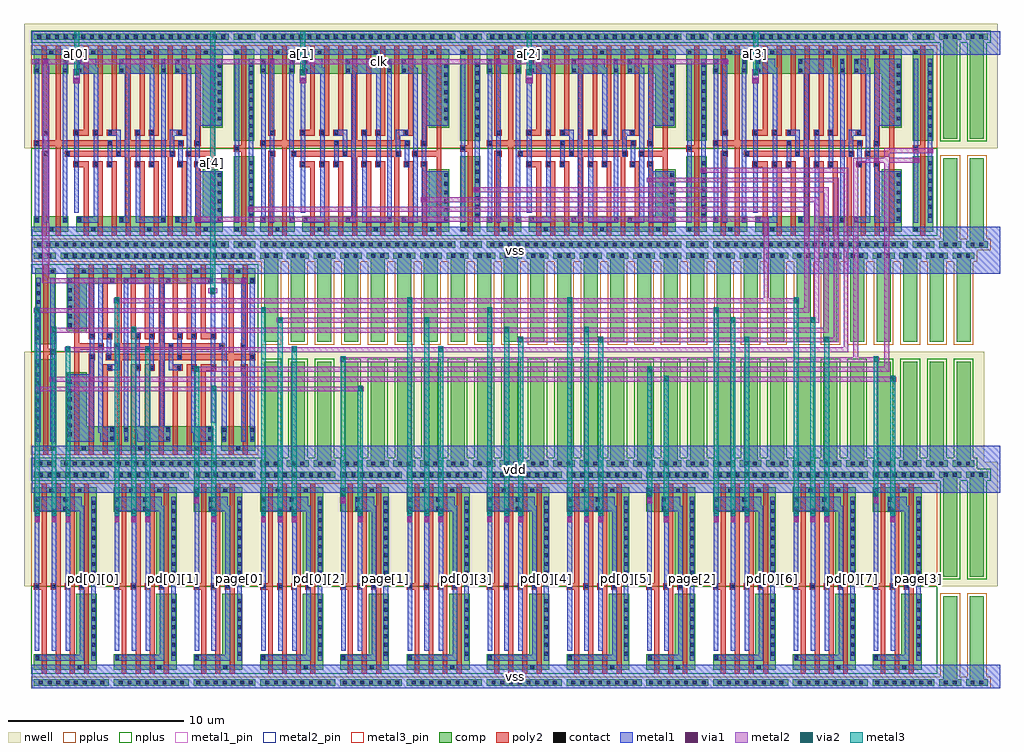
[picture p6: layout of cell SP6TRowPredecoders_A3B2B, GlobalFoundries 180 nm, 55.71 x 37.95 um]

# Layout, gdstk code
from math import pi, radians
import gdstk
lib = gdstk.Library(unit=1e-6, precision=1e-09)
def R(c, l, rs):  # rectangles x0, y0, x1, y1
    for r in rs: c.add(gdstk.rectangle(r[:2], r[2:], *l))
def A(c, l, x, y, w, h, nx, ny, dx, dy):  # array of equal rectangles
    R(c, l, [(x+i*dx, y+j*dy, x+i*dx+w, y+j*dy+h) for i in range(nx) for j in range(ny)])
def P(c, l, *ps):  # polygons
    for p in ps: c.add(gdstk.Polygon(p, *l))
nwell = (21, 0)
comp = (22, 0)
poly2 = (30, 0)
pplus = (31, 0)
nplus = (32, 0)
contact = (33, 0)
metal1 = (34, 0)
metal1_pin = (34, 10)
via1 = (35, 0)
metal2 = (36, 0)
metal2_pin = (36, 10)
via2 = (38, 0)
metal3 = (42, 0)
metal3_pin = (42, 10)

dec_dff_x1 = lib.new_cell('Dec_dff_x1')
R(dec_dff_x1, nwell, [(-0.43,5.8,11.83,12.93)])
R(dec_dff_x1, comp, [(0.14,0.14,11.26,0.5), (0.14,1.045,2.1,1.925), (0.14,10.055,2.1,11.455), (0.14,12,11.26,12.36)])
P(dec_dff_x1, comp, [(9.76,6.98),(9.76,10.055),(2.54,10.055),(2.54,11.455),(10.92,11.455),(10.92,6.98)],
  [(2.54,1.045),(2.54,1.925),(9.76,1.925),(9.76,4.62),(10.92,4.62),(10.92,1.045)])
P(dec_dff_x1, poly2, [(8.58,0.825),(8.58,4.72),(8.32,4.72),(8.32,5.08),(8.86,5.08),(8.86,0.825)],
  [(4.58,0.825),(4.58,4.72),(4.3,4.72),(4.3,5.08),(4.86,5.08),(4.86,0.825)],
  [(1.38,0.825),(1.38,5.92),(0.14,5.92),(0.14,6.28),(1.38,6.28),(1.38,11.675),(1.66,11.675),(1.66,6.28),(5.38,6.28),(5.38,11.675),(5.66,11.675),(5.66,6.28),(7.78,6.28),(7.78,11.675),(8.06,11.675),(8.06,6.28),(8.68,6.28),(8.68,5.92),(1.66,5.92),(1.66,0.825)],
  [(0.58,6.52),(0.58,11.675),(0.86,11.675),(0.86,6.88),(0.99,6.88),(0.99,6.52)],
  [(0.58,0.825),(0.58,5.68),(0.99,5.68),(0.99,5.32),(0.86,5.32),(0.86,0.825)],
  [(5.38,0.825),(5.38,5.32),(1.9,5.32),(1.9,5.68),(8.19,5.68),(8.19,5.32),(8.06,5.32),(8.06,0.825),(7.78,0.825),(7.78,5.32),(5.66,5.32),(5.66,0.825)],
  [(8.3,6.52),(8.3,6.88),(8.58,6.88),(8.58,11.675),(8.86,11.675),(8.86,6.52)],
  [(4.3,6.52),(4.3,6.88),(4.58,6.88),(4.58,11.675),(4.86,11.675),(4.86,6.52)],
  [(3.5,6.52),(3.5,6.88),(3.78,6.88),(3.78,11.675),(4.06,11.675),(4.06,6.52)],
  [(3.78,0.825),(3.78,4.72),(3.5,4.72),(3.5,5.08),(4.06,5.08),(4.06,0.825)],
  [(2.39,6.52),(2.39,6.88),(2.98,6.88),(2.98,11.675),(3.26,11.675),(3.26,6.52)],
  [(2.98,0.825),(2.98,4.72),(2.39,4.72),(2.39,5.08),(3.26,5.08),(3.26,0.825)],
  [(6.7,6.52),(6.7,6.88),(6.98,6.88),(6.98,11.675),(7.26,11.675),(7.26,6.52)],
  [(6.98,0.825),(6.98,4.72),(6.7,4.72),(6.7,5.08),(7.26,5.08),(7.26,0.825)],
  [(5.9,6.52),(5.9,6.88),(6.18,6.88),(6.18,11.675),(6.46,11.675),(6.46,6.52)],
  [(6.18,0.825),(6.18,4.72),(5.9,4.72),(5.9,5.08),(6.46,5.08),(6.46,0.825)],
  [(10.2,0.825),(10.2,5.32),(8.81,5.32),(8.81,5.68),(10.2,5.68),(10.2,11.675),(10.48,11.675),(10.48,0.825)],
  [(9.3,5.92),(9.3,6.28),(9.38,6.28),(9.38,11.675),(9.66,11.675),(9.66,5.92)],
  [(9.38,0.825),(9.38,4.72),(9.3,4.72),(9.3,5.08),(9.66,5.08),(9.66,0.825)])
R(dec_dff_x1, pplus, [(-0.02,-0.02,11.42,0.66), (-0.02,5.8,11.42,11.685)])
R(dec_dff_x1, nplus, [(-0.02,0.815,11.42,5.8), (-0.02,11.84,11.42,12.52)])
A(dec_dff_x1, contact, 0.34, 0.21, 0.22, 0.22, 22, 2, 0.5, 11.86)
A(dec_dff_x1, contact, 2.61, 1.63, 0.22, 0.22, 3, 2, 2.4, 8.51)
A(dec_dff_x1, contact, 10.63, 1.675, 0.22, 0.22, 1, 6, 0, 0.5)
A(dec_dff_x1, contact, 10.63, 7.405, 0.22, 0.22, 1, 7, 0, 0.5)
A(dec_dff_x1, contact, 2.61, 10.64, 0.22, 0.22, 3, 1, 2.4, 0)
R(dec_dff_x1, contact, [(1.01,1.115,1.23,1.335), (3.41,1.115,3.63,1.335), (6.61,1.115,6.83,1.335), (9.83,1.115,10.05,1.335), (0.21,1.63,0.43,1.85), (1.81,1.63,2.03,1.85), (8.21,1.63,8.43,1.85), (2.46,4.79,2.68,5.01), (3.57,4.79,3.79,5.01), (4.37,4.79,4.59,5.01), (5.97,4.79,6.19,5.01), (6.77,4.79,6.99,5.01), (8.39,4.79,8.61,5.01), (9.37,4.79,9.59,5.01), (0.7,5.39,0.92,5.61), (1.97,5.39,2.19,5.61), (4.86,5.39,5.08,5.61), (7.9,5.39,8.12,5.61), (8.88,5.39,9.1,5.61), (0.21,5.99,0.43,6.21), (4.37,5.99,4.59,6.21), (8.39,5.99,8.61,6.21), (9.37,5.99,9.59,6.21), (0.7,6.59,0.92,6.81), (2.46,6.59,2.68,6.81), (3.57,6.59,3.79,6.81), (4.37,6.59,4.59,6.81), (5.97,6.59,6.19,6.81), (6.77,6.59,6.99,6.81), (8.37,6.59,8.59,6.81), (0.21,10.14,0.43,10.36), (1.81,10.14,2.03,10.36), (8.21,10.14,8.43,10.36), (0.21,10.64,0.43,10.86), (1.81,10.64,2.03,10.86), (8.21,10.64,8.43,10.86), (1.01,11.165,1.23,11.385), (3.41,11.165,3.63,11.385), (6.61,11.165,6.83,11.385), (9.83,11.165,10.05,11.385)])
R(dec_dff_x1, metal1, [(0,0,11.4,1.34), (0.68,1.57,0.94,10.93), (2.44,2.14,2.7,9.85), (4.35,4.73,4.61,6.27), (8.37,4.73,8.63,6.27), (0,11.16,11.4,12.5)])
P(dec_dff_x1, metal1, [(0.19,1.57),(0.19,10.42),(0.205,10.42),(0.205,10.93),(0.435,10.93),(0.435,10.42),(0.45,10.42),(0.45,1.57)],
  [(7.88,5.33),(7.88,6.87),(8.595,6.87),(8.595,6.53),(8.14,6.53),(8.14,5.33)],
  [(4.84,5.33),(4.84,6.53),(4.365,6.53),(4.365,6.87),(5.1,6.87),(5.1,5.33)],
  [(1.79,1.57),(1.79,10.42),(1.805,10.42),(1.805,10.93),(2.035,10.93),(2.035,10.42),(2.05,10.42),(2.05,5.67),(2.195,5.67),(2.195,5.33),(2.05,5.33),(2.05,1.57)],
  [(2.605,1.57),(2.605,1.91),(3.55,1.91),(3.55,10.08),(2.605,10.08),(2.605,10.93),(3.68,10.93),(3.68,10.42),(3.81,10.42),(3.81,1.57)],
  [(5.005,1.57),(5.005,1.91),(5.33,1.91),(5.33,10.08),(5.005,10.08),(5.005,10.93),(6.88,10.93),(6.88,10.42),(7.01,10.42),(7.01,4.73),(6.75,4.73),(6.75,10.08),(5.59,10.08),(5.59,1.57)],
  [(5.95,1.57),(5.95,6.87),(6.21,6.87),(6.21,1.91),(7.39,1.91),(7.39,10.42),(7.405,10.42),(7.405,10.93),(7.635,10.93),(7.635,10.42),(7.65,10.42),(7.65,1.57)],
  [(8.205,1.57),(8.205,1.91),(8.86,1.91),(8.86,10.08),(8.205,10.08),(8.205,10.93),(8.99,10.93),(8.99,10.42),(9.12,10.42),(9.12,1.57)],
  [(9.35,1.57),(9.35,10.93),(10.855,10.93),(10.855,7.1),(9.61,7.1),(9.61,4.5),(10.855,4.5),(10.855,1.57)])
R(dec_dff_x1, metal1_pin, [(0,0,11.4,1.34), (0.68,1.57,0.94,10.93), (9.35,1.57,9.61,10.93), (2.44,2.14,2.7,9.85), (0,11.16,11.4,12.5)])
dec_dff_x1.add(gdstk.Label('vdd', (5.7,11.83), layer=34, texttype=10))
dec_dff_x1.add(gdstk.Label('vss', (5.7,0.67), layer=34, texttype=10))
dec_dff_x1.add(gdstk.Label('clk', (0.81,6.25), layer=34, texttype=10))
dec_dff_x1.add(gdstk.Label('i', (2.57,5.995), layer=34, texttype=10))
dec_dff_x1.add(gdstk.Label('q', (9.48,6.25), layer=34, texttype=10))

dec_inv_x1 = lib.new_cell('Dec_inv_x1')
R(dec_inv_x1, nwell, [(-0.43,5.8,1.95,12.93)])
R(dec_inv_x1, comp, [(0.14,0.14,1.38,0.5), (0.14,1.045,1.3,5.37), (0.14,6.23,1.3,11.455), (0.14,12,1.38,12.36)])
P(dec_inv_x1, poly2, [(0.58,0.825),(0.58,5.62),(0.14,5.62),(0.14,5.98),(0.58,5.98),(0.58,11.675),(0.86,11.675),(0.86,0.825)])
R(dec_inv_x1, pplus, [(-0.02,-0.02,1.54,0.66), (-0.02,5.8,1.54,11.685)])
R(dec_inv_x1, nplus, [(-0.02,0.815,1.54,5.8), (-0.02,11.84,1.54,12.52)])
A(dec_inv_x1, contact, 1.01, 1.855, 0.22, 0.22, 1, 7, 0, 0.5)
A(dec_inv_x1, contact, 1.01, 6.475, 0.22, 0.22, 1, 9, 0, 0.5)
R(dec_inv_x1, contact, [(0.4,0.21,0.62,0.43), (0.9,0.21,1.12,0.43), (0.21,1.115,0.43,1.335), (0.21,5.69,0.43,5.91), (0.21,11.165,0.43,11.385), (0.4,12.07,0.62,12.29), (0.9,12.07,1.12,12.29)])
R(dec_inv_x1, metal1, [(0,0,1.52,1.34), (0.19,1.57,0.45,10.93), (0.99,1.57,1.25,10.93), (0,11.16,1.52,12.5)])
R(dec_inv_x1, metal1_pin, [(0,0,1.52,1.34), (0.19,1.57,0.45,10.93), (0.99,1.57,1.25,10.93), (0,11.16,1.52,12.5)])
dec_inv_x1.add(gdstk.Label('vss', (0.76,0.67), layer=34, texttype=10))
dec_inv_x1.add(gdstk.Label('vdd', (0.76,11.83), layer=34, texttype=10))
dec_inv_x1.add(gdstk.Label('nq', (1.12,6.25), layer=34, texttype=10))
dec_inv_x1.add(gdstk.Label('i', (0.32,6.25), layer=34, texttype=10))

dec_tie_diff_w2 = lib.new_cell('Dec_tie_diff_w2')
R(dec_tie_diff_w2, nwell, [(-0.43,5.8,1.95,12.93)])
P(dec_tie_diff_w2, comp, [(0.36,6.36),(0.36,12),(0.14,12),(0.14,12.36),(1.38,12.36),(1.38,12),(1.16,12),(1.16,6.36)],
  [(0.14,0.14),(0.14,0.5),(0.36,0.5),(0.36,5.24),(1.16,5.24),(1.16,0.5),(1.38,0.5),(1.38,0.14)])
P(dec_tie_diff_w2, pplus, [(-0.02,-0.02),(-0.02,0.66),(0.2,0.66),(0.2,5.4),(1.32,5.4),(1.32,0.66),(1.54,0.66),(1.54,-0.02)])
P(dec_tie_diff_w2, nplus, [(0.2,6.2),(0.2,11.84),(-0.02,11.84),(-0.02,12.52),(1.54,12.52),(1.54,11.84),(1.32,11.84),(1.32,6.2)])
R(dec_tie_diff_w2, contact, [(0.4,0.21,0.62,0.43), (0.9,0.21,1.12,0.43), (0.4,12.07,0.62,12.29), (0.9,12.07,1.12,12.29)])
R(dec_tie_diff_w2, metal1, [(0,0,1.52,1.34), (0,11.16,1.52,12.5)])
R(dec_tie_diff_w2, metal1_pin, [(0,0,1.52,1.34), (0,11.16,1.52,12.5)])
dec_tie_diff_w2.add(gdstk.Label('vdd', (0.76,11.83), layer=34, texttype=10))
dec_tie_diff_w2.add(gdstk.Label('vss', (0.76,0.67), layer=34, texttype=10))

dec_and3_x1 = lib.new_cell('Dec_and3_x1')
R(dec_and3_x1, nwell, [(-0.43,5.8,4.99,12.93)])
R(dec_and3_x1, comp, [(0.14,0.14,4.42,0.5), (0.14,12,4.42,12.36)])
P(dec_and3_x1, comp, [(2.56,6.23),(2.56,10.055),(0.14,10.055),(0.14,11.455),(3.72,11.455),(3.72,6.23)],
  [(0.14,1.045),(0.14,1.925),(2.56,1.925),(2.56,5.37),(3.72,5.37),(3.72,1.045)])
P(dec_and3_x1, poly2, [(3,0.825),(3,5.62),(2.7,5.62),(2.7,5.98),(3,5.98),(3,11.675),(3.28,11.675),(3.28,0.825)],
  [(0.58,0.825),(0.58,5.62),(0.14,5.62),(0.14,5.98),(0.58,5.98),(0.58,11.675),(0.86,11.675),(0.86,0.825)],
  [(1.38,0.825),(1.38,5.62),(1.1,5.62),(1.1,5.98),(1.38,5.98),(1.38,11.675),(1.66,11.675),(1.66,0.825)],
  [(2.18,0.825),(2.18,5.62),(1.9,5.62),(1.9,5.98),(2.18,5.98),(2.18,11.675),(2.46,11.675),(2.46,0.825)])
R(dec_and3_x1, pplus, [(-0.02,-0.02,4.58,0.66), (-0.02,5.8,4.58,11.685)])
R(dec_and3_x1, nplus, [(-0.02,0.815,4.58,5.8), (-0.02,11.84,4.58,12.52)])
A(dec_and3_x1, contact, 0.42, 0.21, 0.22, 0.22, 8, 2, 0.5, 11.86)
A(dec_and3_x1, contact, 3.43, 1.855, 0.22, 0.22, 1, 7, 0, 0.5)
A(dec_and3_x1, contact, 1.17, 5.69, 0.22, 0.22, 3, 1, 0.8, 0)
A(dec_and3_x1, contact, 3.43, 6.475, 0.22, 0.22, 1, 9, 0, 0.5)
R(dec_and3_x1, contact, [(2.63,1.115,2.85,1.335), (0.21,1.63,0.43,1.85), (0.21,5.69,0.43,5.91), (0.21,10.14,0.43,10.36), (1.81,10.14,2.03,10.36), (0.21,10.64,0.43,10.86), (1.81,10.64,2.03,10.86), (1.01,11.165,1.23,11.385), (2.63,11.165,2.85,11.385)])
R(dec_and3_x1, metal1, [(0,0,4.56,1.34), (3.41,1.57,3.67,10.93), (0.19,2.14,0.45,9.85), (1.15,2.14,1.41,9.85), (1.95,2.14,2.21,9.85), (0,11.16,4.56,12.5)])
P(dec_and3_x1, metal1, [(0.205,1.57),(0.205,1.91),(2.75,1.91),(2.75,10.08),(0.205,10.08),(0.205,10.93),(2.88,10.93),(2.88,10.42),(3.01,10.42),(3.01,1.57)])
R(dec_and3_x1, metal1_pin, [(0,0,4.56,1.34), (3.41,1.57,3.67,10.93), (0.19,2.14,0.45,9.85), (1.15,2.14,1.41,9.85), (1.95,2.14,2.21,9.85), (0,11.16,4.56,12.5)])
dec_and3_x1.add(gdstk.Label('vdd', (2.28,11.83), layer=34, texttype=10))
dec_and3_x1.add(gdstk.Label('vss', (2.28,0.67), layer=34, texttype=10))
dec_and3_x1.add(gdstk.Label('i0', (0.32,5.995), layer=34, texttype=10))
dec_and3_x1.add(gdstk.Label('i1', (1.28,5.995), layer=34, texttype=10))
dec_and3_x1.add(gdstk.Label('i2', (2.08,5.995), layer=34, texttype=10))
dec_and3_x1.add(gdstk.Label('q', (3.54,6.25), layer=34, texttype=10))

dec_and2_x1 = lib.new_cell('Dec_and2_x1')
R(dec_and2_x1, nwell, [(-0.43,5.8,4.23,12.93)])
R(dec_and2_x1, comp, [(0.14,0.14,3.66,0.5), (0.14,12,3.66,12.36)])
P(dec_and2_x1, comp, [(1.76,6.23),(1.76,10.055),(0.14,10.055),(0.14,11.455),(2.92,11.455),(2.92,6.23)],
  [(0.14,1.045),(0.14,1.925),(1.76,1.925),(1.76,5.37),(2.92,5.37),(2.92,1.045)])
P(dec_and2_x1, poly2, [(2.2,0.825),(2.2,5.62),(1.9,5.62),(1.9,5.98),(2.2,5.98),(2.2,11.675),(2.48,11.675),(2.48,0.825)],
  [(0.58,0.825),(0.58,5.62),(0.14,5.62),(0.14,5.98),(0.58,5.98),(0.58,11.675),(0.86,11.675),(0.86,0.825)],
  [(1.38,0.825),(1.38,5.62),(1.1,5.62),(1.1,5.98),(1.38,5.98),(1.38,11.675),(1.66,11.675),(1.66,0.825)])
R(dec_and2_x1, pplus, [(-0.02,-0.02,3.82,0.66), (-0.02,5.8,3.82,11.685)])
R(dec_and2_x1, nplus, [(-0.02,0.815,3.82,5.8), (-0.02,11.84,3.82,12.52)])
A(dec_and2_x1, contact, 0.29, 0.21, 0.22, 0.22, 7, 2, 0.5, 11.86)
A(dec_and2_x1, contact, 2.63, 1.855, 0.22, 0.22, 1, 7, 0, 0.5)
A(dec_and2_x1, contact, 2.63, 6.475, 0.22, 0.22, 1, 9, 0, 0.5)
R(dec_and2_x1, contact, [(1.83,1.115,2.05,1.335), (0.21,1.63,0.43,1.85), (0.21,5.69,0.43,5.91), (1.17,5.69,1.39,5.91), (1.97,5.69,2.19,5.91), (1.01,10.14,1.23,10.36), (1.01,10.64,1.23,10.86), (0.21,11.165,0.43,11.385), (1.83,11.165,2.05,11.385)])
R(dec_and2_x1, metal1, [(0,0,3.8,1.34), (2.61,1.57,2.87,10.93), (0.19,2.14,0.45,10.93), (1.15,2.14,1.41,9.85), (0,11.16,3.8,12.5)])
P(dec_and2_x1, metal1, [(0.205,1.57),(0.205,1.91),(1.95,1.91),(1.95,10.08),(1.005,10.08),(1.005,10.93),(2.08,10.93),(2.08,10.42),(2.21,10.42),(2.21,1.57)])
R(dec_and2_x1, metal1_pin, [(0,0,3.8,1.34), (2.61,1.57,2.87,10.93), (0.19,2.14,0.45,10.93), (1.15,2.14,1.41,9.85), (0,11.16,3.8,12.5)])
dec_and2_x1.add(gdstk.Label('vdd', (1.9,11.83), layer=34, texttype=10))
dec_and2_x1.add(gdstk.Label('vss', (1.9,0.67), layer=34, texttype=10))
dec_and2_x1.add(gdstk.Label('i0', (0.32,6.535), layer=34, texttype=10))
dec_and2_x1.add(gdstk.Label('i1', (1.28,5.995), layer=34, texttype=10))
dec_and2_x1.add(gdstk.Label('q', (2.74,6.25), layer=34, texttype=10))

sp6trowpredecoders_a3b2b = lib.new_cell('SP6TRowPredecoders_A3B2B')
A(sp6trowpredecoders_a3b2b, metal1, 24.69, 1.57, 0.26, 9.36, 3, 1, 4.56, 0)
A(sp6trowpredecoders_a3b2b, metal1, 2.44, 34.47, 0.26, 0.38, 4, 1, 12.92, 0)
A(sp6trowpredecoders_a3b2b, metal1, 0.68, 35.55, 0.26, 0.38, 4, 1, 12.92, 0)
R(sp6trowpredecoders_a3b2b, metal1, [(0,0,55.28,1.34), (3.41,1.57,3.67,10.93), (7.97,1.57,8.23,10.93), (11.73,1.57,11.99,10.93), (16.33,1.57,16.59,10.93), (20.09,1.57,20.35,10.93), (37.57,1.57,37.83,10.93), (42.17,1.57,42.43,10.93), (46.73,1.57,46.99,10.93), (50.49,1.57,50.75,10.93), (0.19,9.47,0.45,9.85), (1.15,9.47,1.41,9.85), (1.95,9.47,2.21,9.85), (4.75,9.47,5.01,9.85), (5.71,9.47,5.97,9.85), (6.51,9.47,6.77,9.85), (10.27,9.47,10.53,9.85), (13.11,9.47,13.37,9.85), (14.07,9.47,14.33,9.85), (14.87,9.47,15.13,9.85), (18.63,9.47,18.89,9.85), (21.47,9.47,21.73,9.85), (22.43,9.47,22.69,9.85), (23.23,9.47,23.49,9.85), (26.03,9.47,26.29,9.85), (26.99,9.47,27.25,9.85), (27.79,9.47,28.05,9.85), (30.59,9.47,30.85,9.85), (31.55,9.47,31.81,9.85), (32.35,9.47,32.61,9.85), (36.11,9.47,36.37,9.85), (38.95,9.47,39.21,9.85), (39.91,9.47,40.17,9.85), (40.71,9.47,40.97,9.85), (43.51,9.47,43.77,9.85), (44.47,9.47,44.73,9.85), (45.27,9.47,45.53,9.85), (49.03,9.47,49.29,9.85), (9.31,10.55,9.57,10.93), (17.67,10.55,17.93,10.93), (35.15,10.55,35.41,10.93), (48.07,10.55,48.33,10.93), (0,11.16,55.28,13.84), (0.27,16.88,0.53,17.26), (1.07,17.44,1.33,17.82), (3.31,17.44,3.57,17.82), (10.22,22.48,10.48,22.86), (11.98,23.05,12.24,23.43), (0,23.66,55.28,26.34), (9.35,26.57,9.61,26.95), (11.59,26.57,11.85,26.95), (12.39,27.13,12.65,27.51), (22.27,27.69,22.53,28.07), (24.51,27.69,24.77,28.07), (25.31,28.25,25.57,28.63), (35.19,28.81,35.45,29.19), (37.43,28.81,37.69,29.19), (38.23,29.37,38.49,29.75), (48.11,29.93,48.37,30.31), (50.35,29.93,50.61,30.31), (51.15,30.49,51.41,30.87), (0,36.16,55.28,37.5)])
A(sp6trowpredecoders_a3b2b, metal1_pin, 24.69, 1.57, 0.26, 9.36, 3, 1, 4.56, 0)
R(sp6trowpredecoders_a3b2b, metal1_pin, [(0,0,55.28,1.34), (3.41,1.57,3.67,10.93), (7.97,1.57,8.23,10.93), (11.73,1.57,11.99,10.93), (16.33,1.57,16.59,10.93), (20.09,1.57,20.35,10.93), (37.57,1.57,37.83,10.93), (42.17,1.57,42.43,10.93), (46.73,1.57,46.99,10.93), (50.49,1.57,50.75,10.93), (0,11.16,55.28,13.84), (0,23.66,55.28,26.34), (0,36.16,55.28,37.5)])
A(sp6trowpredecoders_a3b2b, via1, 2.44, 34.53, 0.26, 0.26, 4, 1, 12.92, 0)
A(sp6trowpredecoders_a3b2b, via1, 0.68, 35.61, 0.26, 0.26, 4, 1, 12.92, 0)
R(sp6trowpredecoders_a3b2b, via1, [(0.19,9.53,0.45,9.79), (1.15,9.53,1.41,9.79), (1.95,9.53,2.21,9.79), (4.75,9.53,5.01,9.79), (5.71,9.53,5.97,9.79), (6.51,9.53,6.77,9.79), (10.27,9.53,10.53,9.79), (13.11,9.53,13.37,9.79), (14.07,9.53,14.33,9.79), (14.87,9.53,15.13,9.79), (18.63,9.53,18.89,9.79), (21.47,9.53,21.73,9.79), (22.43,9.53,22.69,9.79), (23.23,9.53,23.49,9.79), (26.03,9.53,26.29,9.79), (26.99,9.53,27.25,9.79), (27.79,9.53,28.05,9.79), (30.59,9.53,30.85,9.79), (31.55,9.53,31.81,9.79), (32.35,9.53,32.61,9.79), (36.11,9.53,36.37,9.79), (38.95,9.53,39.21,9.79), (39.91,9.53,40.17,9.79), (40.71,9.53,40.97,9.79), (43.51,9.53,43.77,9.79), (44.47,9.53,44.73,9.79), (45.27,9.53,45.53,9.79), (49.03,9.53,49.29,9.79), (9.31,10.61,9.57,10.87), (17.67,10.61,17.93,10.87), (35.15,10.61,35.41,10.87), (48.07,10.61,48.33,10.87), (0.27,16.94,0.53,17.2), (1.07,17.5,1.33,17.76), (3.31,17.5,3.57,17.76), (10.22,22.54,10.48,22.8), (11.98,23.11,12.24,23.37), (9.35,26.63,9.61,26.89), (11.59,26.63,11.85,26.89), (12.39,27.19,12.65,27.45), (22.27,27.75,22.53,28.01), (24.51,27.75,24.77,28.01), (25.31,28.31,25.57,28.57), (35.19,28.87,35.45,29.13), (37.43,28.87,37.69,29.13), (38.23,29.43,38.49,29.69), (48.11,29.99,48.37,30.25), (50.35,29.99,50.61,30.25), (51.15,30.55,51.41,30.81)])
A(sp6trowpredecoders_a3b2b, metal2, 2.38, 34.52, 0.38, 0.8, 4, 1, 12.92, 0)
R(sp6trowpredecoders_a3b2b, metal2, [(0.18,9.47,0.46,10.23), (1.14,9.47,1.42,10.23), (1.94,9.47,2.22,10.23), (4.74,9.47,5.02,10.23), (5.7,9.47,5.98,10.23), (6.5,9.47,6.78,10.23), (10.26,9.47,10.54,10.23), (13.1,9.47,13.38,10.23), (14.06,9.47,14.34,10.23), (14.86,9.47,15.14,10.23), (18.62,9.47,18.9,10.23), (21.46,9.47,21.74,10.23), (22.42,9.47,22.7,10.23), (23.22,9.47,23.5,10.23), (26.02,9.47,26.3,10.23), (26.98,9.47,27.26,10.23), (27.78,9.47,28.06,10.23), (30.58,9.47,30.86,10.23), (31.54,9.47,31.82,10.23), (32.34,9.47,32.62,10.23), (36.1,9.47,36.38,10.23), (38.94,9.47,39.22,10.23), (39.9,9.47,40.18,10.23), (40.7,9.47,40.98,10.23), (43.5,9.47,43.78,10.23), (44.46,9.47,44.74,10.23), (45.26,9.47,45.54,10.23), (49.02,9.47,49.3,10.23), (9.3,10.55,9.58,11.31), (17.66,10.55,17.94,11.31), (35.14,10.55,35.42,11.31), (48.06,10.55,48.34,11.31), (0.21,16.93,18.95,17.21), (1.01,17.49,49.35,17.77), (10.1,22.53,10.6,22.82)])
P(sp6trowpredecoders_a3b2b, metal2, [(0.62,23.1),(0.62,35.6),(0,35.6),(0,35.88),(39.76,35.88),(39.76,35.6),(1,35.6),(1,23.38),(12.3,23.38),(12.3,23.1)],
  [(4.69,21.97),(4.69,22.25),(41.8,22.25),(41.8,26.62),(9.29,26.62),(9.29,26.9),(42.08,26.9),(42.08,22.25),(43.83,22.25),(43.83,21.97)],
  [(0.13,21.41),(0.13,21.69),(44.11,21.69),(44.11,27.18),(12.33,27.18),(12.33,27.46),(44.39,27.46),(44.39,21.41)],
  [(14.01,20.85),(14.01,21.13),(44.67,21.13),(44.67,27.74),(22.21,27.74),(22.21,28.02),(44.95,28.02),(44.95,20.85)],
  [(1.09,20.29),(1.09,20.57),(45.23,20.57),(45.23,28.3),(25.25,28.3),(25.25,28.58),(45.51,28.58),(45.51,20.29)],
  [(27.73,19.73),(27.73,20.01),(45.79,20.01),(45.79,28.86),(35.13,28.86),(35.13,29.14),(46.07,29.14),(46.07,19.73)],
  [(1.89,19.17),(1.89,19.45),(46.35,19.45),(46.35,29.42),(38.17,29.42),(38.17,29.7),(46.63,29.7),(46.63,19.17)],
  [(17.61,18.61),(17.61,18.89),(46.91,18.89),(46.91,30.26),(50.67,30.26),(50.67,29.98),(47.19,29.98),(47.19,18.89),(48.39,18.89),(48.39,18.61)],
  [(9.25,18.05),(9.25,18.33),(48.67,18.33),(48.67,30.82),(51.47,30.82),(51.47,30.54),(48.95,30.54),(48.95,18.05)])
R(sp6trowpredecoders_a3b2b, metal2_pin, [(0,35.6,39.76,35.88)])
A(sp6trowpredecoders_a3b2b, via2, 6.51, 19.18, 0.26, 0.26, 3, 1, 8.36, 0)
A(sp6trowpredecoders_a3b2b, via2, 0.19, 21.42, 0.26, 0.26, 4, 1, 12.92, 0)
A(sp6trowpredecoders_a3b2b, via2, 2.44, 35.05, 0.26, 0.26, 4, 1, 12.92, 0)
R(sp6trowpredecoders_a3b2b, via2, [(0.19,9.91,0.45,10.17), (1.15,9.91,1.41,10.17), (1.95,9.91,2.21,10.17), (4.75,9.91,5.01,10.17), (5.71,9.91,5.97,10.17), (6.51,9.91,6.77,10.17), (10.27,9.91,10.53,10.17), (13.11,9.91,13.37,10.17), (14.07,9.91,14.33,10.17), (14.87,9.91,15.13,10.17), (18.63,9.91,18.89,10.17), (21.47,9.91,21.73,10.17), (22.43,9.91,22.69,10.17), (23.23,9.91,23.49,10.17), (26.03,9.91,26.29,10.17), (26.99,9.91,27.25,10.17), (27.79,9.91,28.05,10.17), (30.59,9.91,30.85,10.17), (31.55,9.91,31.81,10.17), (32.35,9.91,32.61,10.17), (36.11,9.91,36.37,10.17), (38.95,9.91,39.21,10.17), (39.91,9.91,40.17,10.17), (40.71,9.91,40.97,10.17), (43.51,9.91,43.77,10.17), (44.47,9.91,44.73,10.17), (45.27,9.91,45.53,10.17), (49.03,9.91,49.29,10.17), (9.31,10.99,9.57,11.25), (17.67,10.99,17.93,11.25), (35.15,10.99,35.41,11.25), (48.07,10.99,48.33,11.25), (10.27,16.94,10.53,17.2), (18.63,16.94,18.89,17.2), (36.11,17.5,36.37,17.76), (49.03,17.5,49.29,17.76), (9.31,18.06,9.57,18.32), (35.15,18.06,35.41,18.32), (17.67,18.62,17.93,18.88), (48.07,18.62,48.33,18.88), (1.95,19.18,2.21,19.44), (27.79,19.74,28.05,20), (32.35,19.74,32.61,20), (40.71,19.74,40.97,20), (45.27,19.74,45.53,20), (1.15,20.3,1.41,20.56), (5.71,20.3,5.97,20.56), (26.99,20.3,27.25,20.56), (31.55,20.3,31.81,20.56), (14.07,20.86,14.33,21.12), (22.43,20.86,22.69,21.12), (39.91,20.86,40.17,21.12), (44.47,20.86,44.73,21.12), (4.75,21.98,5.01,22.24), (21.47,21.98,21.73,22.24), (30.59,21.98,30.85,22.24), (43.51,21.98,43.77,22.24), (10.22,22.55,10.48,22.81)])
A(sp6trowpredecoders_a3b2b, metal3, 0.18, 9.85, 0.28, 11.89, 4, 1, 12.92, 0)
A(sp6trowpredecoders_a3b2b, metal3, 6.5, 9.85, 0.28, 9.65, 3, 1, 8.36, 0)
A(sp6trowpredecoders_a3b2b, metal3, 2.43, 34.99, 0.28, 2.51, 4, 1, 12.92, 0)
R(sp6trowpredecoders_a3b2b, metal3, [(1.14,9.85,1.42,20.62), (1.94,9.85,2.22,19.5), (4.74,9.85,5.02,22.3), (5.7,9.85,5.98,20.62), (10.26,9.85,10.54,17.26), (14.06,9.85,14.34,21.18), (18.62,9.85,18.9,17.26), (21.46,9.85,21.74,22.3), (22.42,9.85,22.7,21.18), (26.98,9.85,27.26,20.62), (27.78,9.85,28.06,20.06), (30.58,9.85,30.86,22.3), (31.54,9.85,31.82,20.62), (32.34,9.85,32.62,20.06), (36.1,9.85,36.38,17.82), (39.9,9.85,40.18,21.18), (40.7,9.85,40.98,20.06), (43.5,9.85,43.78,22.3), (44.46,9.85,44.74,21.18), (45.26,9.85,45.54,20.06), (49.02,9.85,49.3,17.82), (9.3,10.93,9.58,18.38), (17.66,10.93,17.94,18.94), (35.14,10.93,35.42,18.38), (48.06,10.93,48.34,18.94), (10.21,22.49,10.49,37.5)])
A(sp6trowpredecoders_a3b2b, metal3_pin, 2.43, 34.99, 0.28, 2.51, 4, 1, 12.92, 0)
R(sp6trowpredecoders_a3b2b, metal3_pin, [(10.21,22.49,10.49,37.5)])
sp6trowpredecoders_a3b2b.add(gdstk.Reference(dec_dff_x1, (0,25)))
sp6trowpredecoders_a3b2b.add(gdstk.Reference(dec_inv_x1, (11.4,25)))
sp6trowpredecoders_a3b2b.add(gdstk.Reference(dec_dff_x1, (12.92,25)))
sp6trowpredecoders_a3b2b.add(gdstk.Reference(dec_inv_x1, (24.32,25)))
sp6trowpredecoders_a3b2b.add(gdstk.Reference(dec_dff_x1, (25.84,25)))
sp6trowpredecoders_a3b2b.add(gdstk.Reference(dec_inv_x1, (37.24,25)))
sp6trowpredecoders_a3b2b.add(gdstk.Reference(dec_dff_x1, (38.76,25)))
sp6trowpredecoders_a3b2b.add(gdstk.Reference(dec_inv_x1, (50.16,25)))
sp6trowpredecoders_a3b2b.add(gdstk.Reference(dec_inv_x1, (1.52,25), rotation=pi))
sp6trowpredecoders_a3b2b.add(gdstk.Reference(dec_dff_x1, (12.92,25), rotation=pi))
sp6trowpredecoders_a3b2b.add(gdstk.Reference(dec_tie_diff_w2, (51.68,25)))
sp6trowpredecoders_a3b2b.add(gdstk.Reference(dec_tie_diff_w2, (53.2,25)))
sp6trowpredecoders_a3b2b.add(gdstk.Reference(dec_tie_diff_w2, (12.92,25), x_reflection=True))
sp6trowpredecoders_a3b2b.add(gdstk.Reference(dec_tie_diff_w2, (14.44,25), x_reflection=True))
sp6trowpredecoders_a3b2b.add(gdstk.Reference(dec_tie_diff_w2, (15.96,25), x_reflection=True))
sp6trowpredecoders_a3b2b.add(gdstk.Reference(dec_tie_diff_w2, (17.48,25), x_reflection=True))
sp6trowpredecoders_a3b2b.add(gdstk.Reference(dec_tie_diff_w2, (19,25), x_reflection=True))
sp6trowpredecoders_a3b2b.add(gdstk.Reference(dec_tie_diff_w2, (20.52,25), x_reflection=True))
sp6trowpredecoders_a3b2b.add(gdstk.Reference(dec_tie_diff_w2, (22.04,25), x_reflection=True))
sp6trowpredecoders_a3b2b.add(gdstk.Reference(dec_tie_diff_w2, (23.56,25), x_reflection=True))
sp6trowpredecoders_a3b2b.add(gdstk.Reference(dec_tie_diff_w2, (25.08,25), x_reflection=True))
sp6trowpredecoders_a3b2b.add(gdstk.Reference(dec_tie_diff_w2, (26.6,25), x_reflection=True))
sp6trowpredecoders_a3b2b.add(gdstk.Reference(dec_tie_diff_w2, (28.12,25), x_reflection=True))
sp6trowpredecoders_a3b2b.add(gdstk.Reference(dec_tie_diff_w2, (29.64,25), x_reflection=True))
sp6trowpredecoders_a3b2b.add(gdstk.Reference(dec_tie_diff_w2, (31.16,25), x_reflection=True))
sp6trowpredecoders_a3b2b.add(gdstk.Reference(dec_tie_diff_w2, (32.68,25), x_reflection=True))
sp6trowpredecoders_a3b2b.add(gdstk.Reference(dec_tie_diff_w2, (34.2,25), x_reflection=True))
sp6trowpredecoders_a3b2b.add(gdstk.Reference(dec_tie_diff_w2, (35.72,25), x_reflection=True))
sp6trowpredecoders_a3b2b.add(gdstk.Reference(dec_tie_diff_w2, (37.24,25), x_reflection=True))
sp6trowpredecoders_a3b2b.add(gdstk.Reference(dec_tie_diff_w2, (38.76,25), x_reflection=True))
sp6trowpredecoders_a3b2b.add(gdstk.Reference(dec_tie_diff_w2, (40.28,25), x_reflection=True))
sp6trowpredecoders_a3b2b.add(gdstk.Reference(dec_tie_diff_w2, (41.8,25), x_reflection=True))
sp6trowpredecoders_a3b2b.add(gdstk.Reference(dec_tie_diff_w2, (43.32,25), x_reflection=True))
sp6trowpredecoders_a3b2b.add(gdstk.Reference(dec_tie_diff_w2, (44.84,25), x_reflection=True))
sp6trowpredecoders_a3b2b.add(gdstk.Reference(dec_tie_diff_w2, (46.36,25), x_reflection=True))
sp6trowpredecoders_a3b2b.add(gdstk.Reference(dec_tie_diff_w2, (47.88,25), x_reflection=True))
sp6trowpredecoders_a3b2b.add(gdstk.Reference(dec_tie_diff_w2, (49.4,25), x_reflection=True))
sp6trowpredecoders_a3b2b.add(gdstk.Reference(dec_tie_diff_w2, (50.92,25), x_reflection=True))
sp6trowpredecoders_a3b2b.add(gdstk.Reference(dec_tie_diff_w2, (52.44,25), x_reflection=True))
sp6trowpredecoders_a3b2b.add(gdstk.Reference(dec_and3_x1, (0,0)))
sp6trowpredecoders_a3b2b.add(gdstk.Reference(dec_and3_x1, (4.56,0)))
sp6trowpredecoders_a3b2b.add(gdstk.Reference(dec_and2_x1, (9.12,0)))
sp6trowpredecoders_a3b2b.add(gdstk.Reference(dec_and3_x1, (12.92,0)))
sp6trowpredecoders_a3b2b.add(gdstk.Reference(dec_and2_x1, (17.48,0)))
sp6trowpredecoders_a3b2b.add(gdstk.Reference(dec_and3_x1, (21.28,0)))
sp6trowpredecoders_a3b2b.add(gdstk.Reference(dec_and3_x1, (25.84,0)))
sp6trowpredecoders_a3b2b.add(gdstk.Reference(dec_and3_x1, (30.4,0)))
sp6trowpredecoders_a3b2b.add(gdstk.Reference(dec_and2_x1, (34.96,0)))
sp6trowpredecoders_a3b2b.add(gdstk.Reference(dec_and3_x1, (38.76,0)))
sp6trowpredecoders_a3b2b.add(gdstk.Reference(dec_and3_x1, (43.32,0)))
sp6trowpredecoders_a3b2b.add(gdstk.Reference(dec_and2_x1, (47.88,0)))
sp6trowpredecoders_a3b2b.add(gdstk.Reference(dec_tie_diff_w2, (51.68,0)))
sp6trowpredecoders_a3b2b.add(gdstk.Reference(dec_tie_diff_w2, (53.2,0)))
sp6trowpredecoders_a3b2b.add(gdstk.Label('a[0]', (2.57,36.245), layer=42, texttype=10))
sp6trowpredecoders_a3b2b.add(gdstk.Label('a[1]', (15.49,36.245), layer=42, texttype=10))
sp6trowpredecoders_a3b2b.add(gdstk.Label('a[2]', (28.41,36.245), layer=42, texttype=10))
sp6trowpredecoders_a3b2b.add(gdstk.Label('a[3]', (41.33,36.245), layer=42, texttype=10))
sp6trowpredecoders_a3b2b.add(gdstk.Label('a[4]', (10.35,29.995), layer=42, texttype=10))
sp6trowpredecoders_a3b2b.add(gdstk.Label('clk', (19.88,35.74), layer=36, texttype=10))
sp6trowpredecoders_a3b2b.add(gdstk.Label('vss', (27.64,25), layer=34, texttype=10))
sp6trowpredecoders_a3b2b.add(gdstk.Label('vss', (27.64,0.67), layer=34, texttype=10))
sp6trowpredecoders_a3b2b.add(gdstk.Label('vdd', (27.64,36.83), layer=34, texttype=10))
sp6trowpredecoders_a3b2b.add(gdstk.Label('vdd', (27.64,12.5), layer=34, texttype=10))
sp6trowpredecoders_a3b2b.add(gdstk.Label('pd[0][0]', (3.54,6.25), layer=34, texttype=10))
sp6trowpredecoders_a3b2b.add(gdstk.Label('pd[0][1]', (8.1,6.25), layer=34, texttype=10))
sp6trowpredecoders_a3b2b.add(gdstk.Label('pd[0][2]', (16.46,6.25), layer=34, texttype=10))
sp6trowpredecoders_a3b2b.add(gdstk.Label('pd[0][3]', (24.82,6.25), layer=34, texttype=10))
sp6trowpredecoders_a3b2b.add(gdstk.Label('pd[0][4]', (29.38,6.25), layer=34, texttype=10))
sp6trowpredecoders_a3b2b.add(gdstk.Label('pd[0][5]', (33.94,6.25), layer=34, texttype=10))
sp6trowpredecoders_a3b2b.add(gdstk.Label('pd[0][6]', (42.3,6.25), layer=34, texttype=10))
sp6trowpredecoders_a3b2b.add(gdstk.Label('pd[0][7]', (46.86,6.25), layer=34, texttype=10))
sp6trowpredecoders_a3b2b.add(gdstk.Label('page[0]', (11.86,6.25), layer=34, texttype=10))
sp6trowpredecoders_a3b2b.add(gdstk.Label('page[1]', (20.22,6.25), layer=34, texttype=10))
sp6trowpredecoders_a3b2b.add(gdstk.Label('page[2]', (37.7,6.25), layer=34, texttype=10))
sp6trowpredecoders_a3b2b.add(gdstk.Label('page[3]', (50.62,6.25), layer=34, texttype=10))

lib.write_gds('SP6TRowPredecoders_A3B2B.gds')
